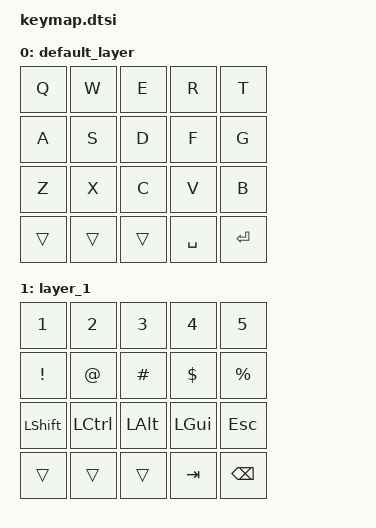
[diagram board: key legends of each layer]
/ {
    keymap {
        compatible = "zmk,keymap";

        default_layer {
            bindings = <
                &kp Q &kp W &kp E &kp R &kp T
                &kp A &kp S &kp D &kp F &kp G
                &kp Z &kp X &kp C &kp V &kp B
                &trans &trans &trans &kp SPACE &kp ENTER
            >;
        };

        layer_1 {
            bindings = <
                &kp 1 &kp 2 &kp 3 &kp 4 &kp 5
                &kp EXCL &kp AT &kp HASH &kp DOLLAR &kp PERCENT
                &kp LSHIFT &kp LCTRL &kp LALT &kp LGUI &kp ESC
                &trans &trans &trans &kp TAB &kp BSPC
            >;
        };
    };

    rgb_animations {
        compatible = "zmk,rgb-animations";

        group_left {
            label = "LeftHand";
            color = <255 0 0>; // Red
        };

        group_right {
            label = "RightHand";
            color = <0 0 255>; // Blue
        };
    };
};
